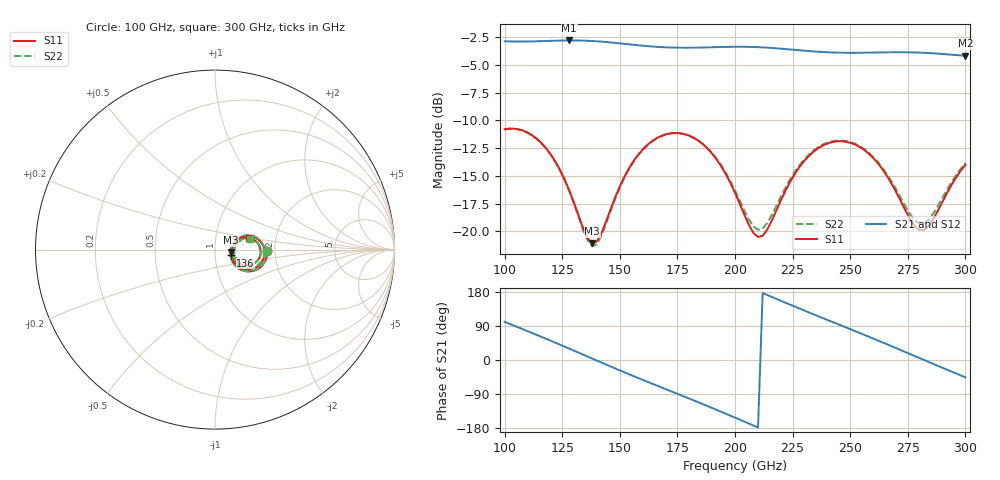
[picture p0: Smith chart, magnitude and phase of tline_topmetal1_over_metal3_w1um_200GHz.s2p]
#  GHZ S DB R 50
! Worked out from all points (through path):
!   101 points, 100 GHz to 300 GHz, reference 50 ohm
!   highest |S21| = -2.78 dB at 128 GHz (marker M1); lowest = -4.2 dB at 300 GHz (marker M2)
!   group delay of S21, straight-line fit = 7.03 ps
!   lowest |S11| = -21.1 dB at 138 GHz (marker M3), VSWR 1.19, Z = 59.5 - j1.73 ohm
!   |S11| at or under -10 dB: start of sweep to end of sweep
!   |S22| runs from -21.3 to -10.8 dB; largest |S21 - S12| = 8.3e-14
!   S11 on the Smith chart (normalised r, x): 100 GHz: 1.81, -0.03; 136 GHz: 1.19, -0.08; 300 GHz: 1.45, +0.20
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100  -10.79 -1.4  -2.85 100.6  -2.85 100.6  -10.81 -1.0
114  -11.66 -24.8  -2.85 66.1  -2.85 66.1  -11.68 -24.6
128  -16.29 -38.6  -2.78 30.2  -2.78 30.2  -16.35 -38.7
134  -19.67 -28.9  -2.80 14.4  -2.80 14.4  -19.83 -29.0
136  -20.62 -20.4  -2.81 9.1  -2.81 9.1  -20.83 -20.3
138  -21.10 -9.4  -2.83 3.9  -2.83 3.9  -21.35 -9.0
142  -20.19 11.8  -2.89 -6.6  -2.89 -6.6  -20.42 13.1
150  -15.95 25.3  -3.04 -27.3  -3.04 -27.3  -16.05 26.9
160  -12.60 16.6  -3.26 -52.5  -3.26 -52.5  -12.65 18.2
168  -11.40 4.7  -3.38 -72.2  -3.38 -72.2  -11.42 6.3
184  -11.82 -20.8  -3.43 -111.4  -3.43 -111.4  -11.80 -18.7
200  -16.53 -35.1  -3.35 -152.1  -3.35 -152.1  -16.32 -31.9
208  -20.16 -17.9  -3.37 -172.9  -3.37 -172.9  -19.57 -15.3
212  -20.40 0.6  -3.41 176.7  -3.41 176.7  -19.75 1.2
222  -16.30 22.1  -3.56 150.9  -3.56 150.9  -16.03 21.2
234  -12.83 12.6  -3.77 120.8  -3.77 120.8  -12.73 12.4
250  -12.01 -10.6  -3.90 81.5  -3.90 81.5  -11.95 -10.0
258  -12.99 -21.5  -3.88 61.6  -3.88 61.6  -12.90 -20.5
268  -15.72 -29.4  -3.85 36.3  -3.85 36.3  -15.53 -27.6
282  -19.90 0.3  -3.90 0.1  -3.90 0.1  -19.30 0.1
290  -17.35 20.5  -4.00 -20.4  -4.00 -20.4  -17.00 18.6
300  -13.99 19.0  -4.17 -45.7  -4.17 -45.7  -13.85 17.4
